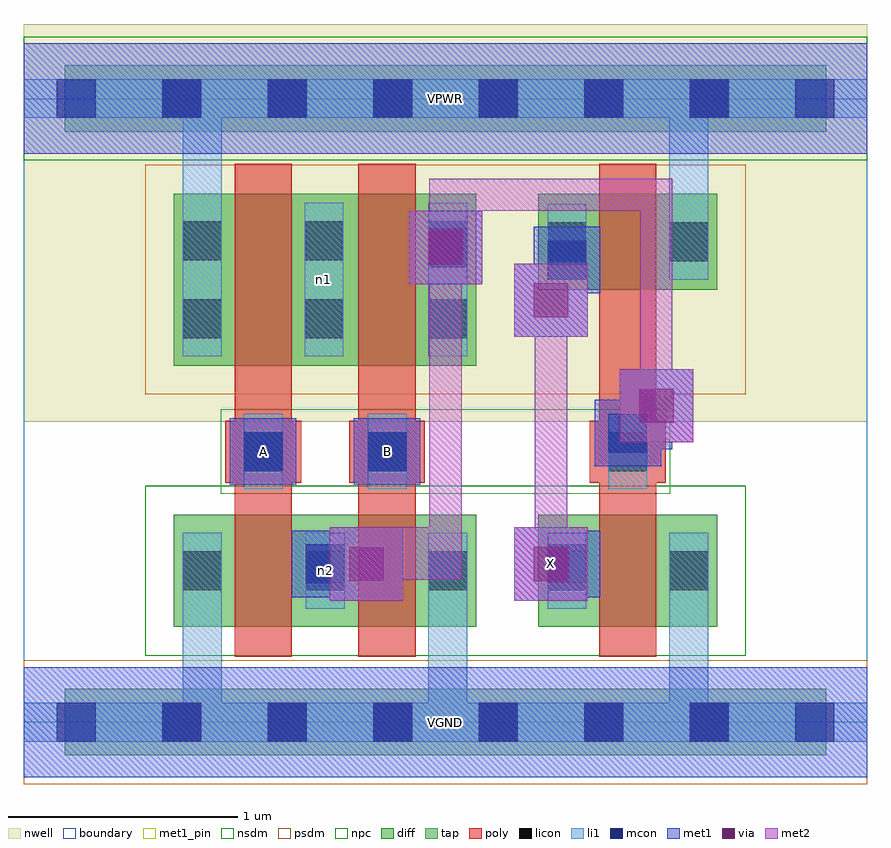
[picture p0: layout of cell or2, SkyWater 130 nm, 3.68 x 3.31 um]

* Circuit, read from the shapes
.subckt or2 A B VGND VPWR X n1 n2
XM1 n2 A VGND VGND sky130_fd_pr__nfet_01v8 w=0.49 l=0.25
XM2 VGND B n2 VGND sky130_fd_pr__nfet_01v8 w=0.49 l=0.25
XM3 VGND n2 X VGND sky130_fd_pr__nfet_01v8 w=0.49 l=0.25
XM4 n1 A VPWR VPWR sky130_fd_pr__pfet_01v8 w=0.75 l=0.25
XM5 n2 B n1 VPWR sky130_fd_pr__pfet_01v8 w=0.75 l=0.25
XM6 VPWR n2 X VPWR sky130_fd_pr__pfet_01v8 w=0.42 l=0.25
.ends

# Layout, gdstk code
import gdstk
lib = gdstk.Library(unit=1e-6, precision=1e-09)
def R(c, l, rs):  # rectangles x0, y0, x1, y1
    for r in rs: c.add(gdstk.rectangle(r[:2], r[2:], *l))
def A(c, l, x, y, w, h, nx, ny, dx, dy):  # array of equal rectangles
    R(c, l, [(x+i*dx, y+j*dy, x+i*dx+w, y+j*dy+h) for i in range(nx) for j in range(ny)])
nwell = (64, 20)
diff = (65, 20)
tap = (65, 44)
poly = (66, 20)
licon = (66, 44)
li1 = (67, 20)
mcon = (67, 44)
met1_pin = (68, 16)
met1 = (68, 20)
via = (68, 44)
met2 = (69, 20)
nsdm = (93, 44)
psdm = (94, 20)
npc = (95, 20)
boundary = (235, 4)

or2 = lib.new_cell('or2')
R(or2, nwell, [(0,1.31,3.68,3.045)])
R(or2, diff, [(0.655,0.415,1.975,0.905), (2.245,0.415,3.025,0.905), (0.655,1.555,1.975,2.305), (2.245,1.885,3.025,2.305)])
R(or2, tap, [(0.18,-0.145,3.5,0.145), (0.18,2.575,3.5,2.865)])
R(or2, poly, [(0.92,0.285,1.17,2.435), (1.46,0.285,1.71,2.435), (2.51,0.285,2.76,2.435), (0.88,1.045,1.21,1.315), (1.42,1.045,1.75,1.315), (2.47,1.045,2.8,1.315)])
A(or2, licon, 0.605, -0.085, 0.17, 0.17, 6, 2, 0.46, 2.72)
A(or2, licon, 0.695, 0.575, 0.17, 0.17, 3, 1, 0.535, 0)
R(or2, licon, [(2.285,0.575,2.455,0.745), (2.815,0.575,2.985,0.745), (0.96,1.095,1.13,1.265), (1.5,1.095,1.67,1.265), (2.55,1.095,2.72,1.265), (0.695,1.675,0.865,1.845), (1.225,1.675,1.395,1.845), (1.765,1.675,1.935,1.845), (2.285,2.01,2.455,2.18), (2.815,2.01,2.985,2.18), (0.695,2.015,0.865,2.185), (1.225,2.015,1.395,2.185), (1.765,2.015,1.935,2.185)])
A(or2, li1, 0.695, 0.495, 0.17, 0.33, 3, 1, 0.535, 0)
R(or2, li1, [(0,-0.085,3.68,0.085), (0.695,-0.085,0.865,0.825), (1.765,-0.085,1.935,0.825), (2.815,-0.085,2.985,0.825), (2.285,0.495,2.455,0.825), (2.815,0.495,2.985,0.825), (0.96,1.015,1.13,1.345), (1.5,1.015,1.67,1.345), (2.55,1.015,2.72,1.345), (0.695,1.595,0.865,2.265), (0.695,1.595,0.865,2.805), (1.225,1.595,1.395,2.265), (1.765,1.595,1.935,2.265), (2.285,1.93,2.455,2.26), (2.815,1.93,2.985,2.26), (2.815,1.93,2.985,2.805), (0,2.635,3.68,2.805)])
A(or2, mcon, 0.145, -0.085, 0.17, 0.17, 8, 2, 0.46, 2.72)
R(or2, mcon, [(1.23,0.605,1.4,0.775), (2.285,0.605,2.455,0.775), (0.96,1.095,1.13,1.265), (1.5,1.095,1.67,1.265), (2.55,1.175,2.72,1.345), (2.285,1.93,2.455,2.1), (1.765,1.985,1.935,2.155)])
R(or2, met1_pin, [(0,-0.24,3.68,0.24), (2.14,0.53,2.46,0.85), (0.9,1.035,1.19,1.325), (1.44,1.035,1.73,1.325), (0,2.48,3.68,2.96)])
R(or2, met1, [(0,-0.24,3.68,0.24), (1.335,0.53,1.655,0.85), (2.14,0.53,2.46,0.85), (1.17,0.545,1.46,0.835), (2.225,0.545,2.515,0.835), (1.245,0.62,1.565,0.76), (2.23,0.62,2.44,0.76), (0.9,1.035,1.19,1.325), (1.44,1.035,1.73,1.325), (2.49,1.115,2.78,1.405), (2.565,1.19,2.83,1.33), (2.69,1.19,2.83,1.45), (2.6,1.22,2.92,1.54), (2.14,1.68,2.46,2), (2.23,1.77,2.37,2.085), (2.225,1.87,2.515,2.16), (1.68,1.91,2,2.23), (1.705,1.925,1.995,2.215), (2.23,1.945,2.44,2.085), (1.77,2,1.92,2.14), (0,2.48,3.68,2.96)])
R(or2, via, [(1.42,0.615,1.57,0.765), (2.225,0.615,2.375,0.765), (2.685,1.305,2.835,1.455), (2.225,1.765,2.375,1.915), (1.765,1.995,1.915,2.145)])
R(or2, met2, [(1.335,0.53,1.655,0.85), (2.14,0.53,2.46,0.85), (1.425,0.62,1.91,0.76), (1.655,0.62,1.77,0.85), (1.77,0.62,1.91,2.14), (2.23,0.62,2.37,1.91), (2.6,1.22,2.92,1.54), (2.69,1.31,2.83,2.37), (2.14,1.68,2.46,2), (1.68,1.91,2,2.23), (1.77,2,1.91,2.37), (1.77,2.23,2.83,2.37)])
R(or2, nsdm, [(0.53,0.29,3.15,1.03), (0,2.45,3.68,2.99)])
R(or2, psdm, [(0,-0.27,3.68,0.27), (0.53,1.43,3.15,2.43)])
R(or2, npc, [(0.86,0.995,2.82,1.365)])
R(or2, boundary, [(0,0,3.68,2.72)])
or2.add(gdstk.Label('n2', (1.315,0.66), layer=67, texttype=5))
or2.add(gdstk.Label('n1', (1.31,1.93), layer=67, texttype=5))
or2.add(gdstk.Label('A', (1.045,1.18), layer=68, texttype=5))
or2.add(gdstk.Label('B', (1.585,1.18), layer=68, texttype=5))
or2.add(gdstk.Label('X', (2.3,0.69), layer=68, texttype=5))
or2.add(gdstk.Label('VPWR', (1.84,2.72), layer=68, texttype=5))
or2.add(gdstk.Label('VGND', (1.84,0), layer=68, texttype=5))
or2.add(gdstk.Label('A', (1.045,1.18), layer=68, texttype=16))
or2.add(gdstk.Label('B', (1.585,1.18), layer=68, texttype=16))
or2.add(gdstk.Label('X', (2.3,0.69), layer=68, texttype=16))
or2.add(gdstk.Label('VPWR', (1.84,2.72), layer=68, texttype=16))
or2.add(gdstk.Label('VGND', (1.84,0), layer=68, texttype=16))

lib.write_gds('or2.gds')
